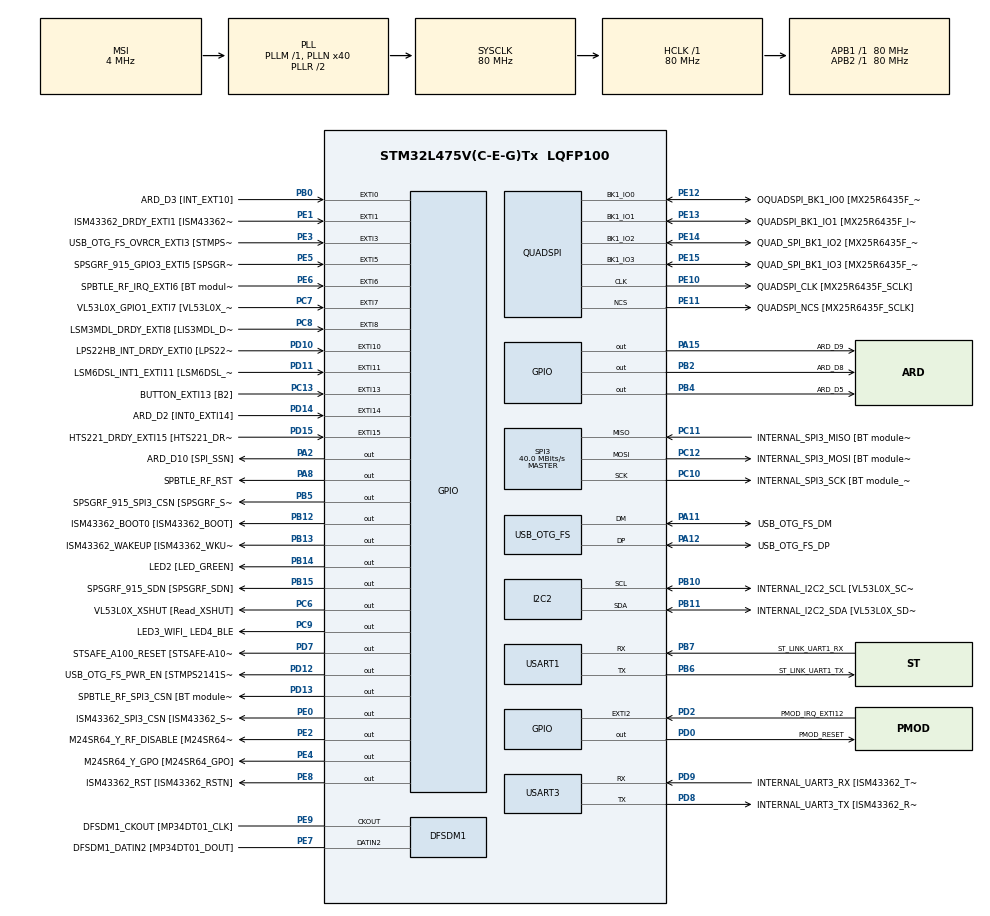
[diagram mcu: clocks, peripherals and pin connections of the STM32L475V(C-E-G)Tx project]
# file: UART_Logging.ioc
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I2C2.Timing=0x10909CEC
Mcu.Family=STM32L4
Mcu.Name=STM32L475V(C-E-G)Tx
Mcu.Package=LQFP100
NVIC.EXTI15_10_IRQn=true\:0\:0\:false\:false\:true\:true\:true\:true
NVIC.EXTI9_5_IRQn=true\:0\:0\:false\:false\:true\:true\:true\:true
NVIC.PriorityGroup=NVIC_PRIORITYGROUP_4
PA0.GPIO_Label=ARD_D1 [UART4_TX]
PA0.Signal=UART4_TX
PA1.GPIO_Label=ARD_D0 [UART4_RX]
PA1.Signal=UART4_RX
PA10.GPIO_Label=USB_OTG_FS_ID
PA10.Signal=USB_OTG_FS_ID
PA11.GPIO_Label=USB_OTG_FS_DM
PA11.Mode=Device_Only
PA11.Signal=USB_OTG_FS_DM
PA12.GPIO_Label=USB_OTG_FS_DP
PA12.Mode=Device_Only
PA12.Signal=USB_OTG_FS_DP
PA13\ (JTMS-SWDIO).GPIO_Label=SYS_JTMS_SWDIO
PA13\ (JTMS-SWDIO).Mode=Serial_Wire
PA13\ (JTMS-SWDIO).Signal=SYS_JTMS-SWDIO
PA14\ (JTCK-SWCLK).GPIO_Label=SYS_JTCK_SWCLK
PA14\ (JTCK-SWCLK).Mode=Serial_Wire
PA14\ (JTCK-SWCLK).Signal=SYS_JTCK-SWCLK
PA15\ (JTDI).GPIO_Label=ARD_D9
PA15\ (JTDI).Signal=GPIO_Output
PA2.GPIO_Label=ARD_D10 [SPI_SSN]
PA2.Signal=GPIO_Output
PA3.GPIO_Label=ARD_D4
PA3.Signal=S_TIM2_CH4
PA4.GPIO_Label=ARD_D7
PA4.Signal=ADCx_IN9
PA5.GPIO_Label=ARD_D13 [SPI1_SCK]
PA5.Signal=SPI1_SCK
PA6.GPIO_Label=ARD_D12 [SPI1_MISO]
PA6.Signal=SPI1_MISO
PA7.GPIO_Label=ARD_D11 [SPI1_MOSI]
PA7.Signal=SPI1_MOSI
PA8.GPIO_Label=SPBTLE_RF_RST
PA8.Signal=GPIO_Output
PA9.GPIO_Label=USB_OTG_FS_VBUS [STMPS2141STR_OUT]
PA9.Signal=USB_OTG_FS_VBUS
PB0.GPIO_Label=ARD_D3 [INT_EXT10]
PB0.Signal=GPXTI0
PB1.GPIO_Label=ARD_D6 [ADC1_IN6]
PB1.Signal=ADCx_IN16
PB10.GPIO_Label=INTERNAL_I2C2_SCL [VL53L0X_SCL]
PB10.GPIO_Pu=GPIO_PULLUP
PB10.Mode=I2C
PB10.Signal=I2C2_SCL
PB11.GPIO_Label=INTERNAL_I2C2_SDA [VL53L0X_SDA]
PB11.GPIO_Pu=GPIO_PULLUP
PB11.Mode=I2C
PB11.Signal=I2C2_SDA
PB12.GPIO_Label=ISM43362_BOOT0 [ISM43362_BOOT]
PB12.Signal=GPIO_Output
PB13.GPIO_Label=ISM43362_WAKEUP [ISM43362_WKUP]
PB13.Signal=GPIO_Output
PB14.GPIO_Label=LED2 [LED_GREEN]
PB14.Signal=GPIO_Output
PB15.GPIO_Label=SPSGRF_915_SDN [SPSGRF_SDN]
PB15.Signal=GPIO_Output
PB2.GPIO_Label=ARD_D8
PB2.Signal=GPIO_Output
PB3\ (JTDO-TRACESWO).GPIO_Label=SYS_JTD0_SWO
PB3\ (JTDO-TRACESWO).Signal=SYS_JTDO-SWO
PB4\ (NJTRST).GPIO_Label=ARD_D5
PB4\ (NJTRST).Signal=GPIO_Output
PB5.GPIO_Label=SPSGRF_915_SPI3_CSN [SPSGRF_SPI_CS]
PB5.PinState=GPIO_PIN_SET
PB5.Signal=GPIO_Output
PB6.GPIO_Label=ST_LINK_UART1_TX
PB6.Mode=Asynchronous
PB6.Signal=USART1_TX
PB7.GPIO_Label=ST_LINK_UART1_RX
PB7.Mode=Asynchronous
PB7.Signal=USART1_RX
PB8.GPIO_Label=ARD_D15 [I2C1_SCL]
PB8.Signal=I2C1_SCL
PB9.GPIO_Label=ARD_D14 [I2C1_SDA]
PB9.Signal=I2C1_SDA
PC0.GPIO_Label=ARD_A5 [ADC]
PC0.Signal=ADCx_IN1
PC1.GPIO_Label=ARD_A4 [ADC]
PC1.Signal=ADCx_IN2
PC10.GPIO_Label=INTERNAL_SPI3_SCK [BT module_SPI_SCLK] [ISM43362_SCK]
PC10.Mode=Full_Duplex_Master
PC10.Signal=SPI3_SCK
PC11.GPIO_Label=INTERNAL_SPI3_MISO [BT module_SPI_MISO] [ISM43362_MISO]
PC11.Mode=Full_Duplex_Master
PC11.Signal=SPI3_MISO
PC12.GPIO_Label=INTERNAL_SPI3_MOSI [BT module_SPI_MOSI] [ISM43362_MOSI]
PC12.Mode=Full_Duplex_Master
PC12.Signal=SPI3_MOSI
PC13.GPIO_Label=BUTTON_EXTI13 [B2]
PC13.GPIO_ModeDefaultEXTI=GPIO_MODE_IT_FALLING
PC13.Signal=GPXTI13
PC14-OSC32_IN\ (PC14).Mode=LSE-External-Oscillator
PC14-OSC32_IN\ (PC14).Signal=RCC_OSC32_IN
PC15-OSC32_OUT\ (PC15).Mode=LSE-External-Oscillator
PC15-OSC32_OUT\ (PC15).Signal=RCC_OSC32_OUT
PC2.GPIO_Label=ARD_A3 [ADC]
PC2.Signal=ADCx_IN3
PC3.GPIO_Label=ARD_A2 [ADC]
PC3.Signal=ADCx_IN4
PC4.GPIO_Label=ARD_A1 [ADC]
PC4.Signal=ADCx_IN13
PC5.GPIO_Label=ARD_A0 [ADC]
PC5.Signal=ADCx_IN14
PC6.GPIO_Label=VL53L0X_XSHUT [Read_XSHUT]
PC6.Signal=GPIO_Output
PC7.GPIO_Label=VL53L0X_GPIO1_EXTI7 [VL53L0X_GPIO1]
PC7.Signal=GPXTI7
PC8.GPIO_Label=LSM3MDL_DRDY_EXTI8 [LIS3MDL_DRDY]
PC8.Signal=GPXTI8
PC9.GPIO_Label=LED3_WIFI_ LED4_BLE
PC9.Signal=GPIO_Output
PD0.GPIO_Label=PMOD_RESET
PD0.Signal=GPIO_Output
PD1.GPIO_Label=PMOD_SPI2_SCK
PD1.Signal=SPI2_SCK
PD10.GPIO_Label=LPS22HB_INT_DRDY_EXTI0 [LPS22HB_INT_DRDY] 
PD10.Signal=GPXTI10
PD11.GPIO_Label=LSM6DSL_INT1_EXTI11 [LSM6DSL_INT1]
PD11.Signal=GPXTI11
PD12.GPIO_Label=USB_OTG_FS_PWR_EN [STMPS2141STR_EN]
PD12.Signal=GPIO_Output
PD13.GPIO_Label=SPBTLE_RF_SPI3_CSN [BT module_SPI_CS]
PD13.PinState=GPIO_PIN_SET
PD13.Signal=GPIO_Output
PD14.GPIO_Label=ARD_D2 [INT0_EXTI14]
PD14.Signal=GPXTI14
PD15.GPIO_Label=HTS221_DRDY_EXTI15 [HTS221_DRDY]
PD15.Signal=GPXTI15
PD2.GPIO_Label=PMOD_IRQ_EXTI12
PD2.Signal=GPXTI2
PD3.GPIO_Label=PMOD_UART2_CTS
PD3.Signal=USART2_CTS
PD4.GPIO_Label=PMOD_UART2_RTS
PD4.Signal=USART2_RTS
PD5.GPIO_Label=PMOD_UART2_TX
PD5.Signal=USART2_TX
PD6.GPIO_Label=PMOD_UART2_RX
PD6.Signal=USART2_RX
PD7.GPIO_Label=STSAFE_A100_RESET [STSAFE-A100_RESET]
PD7.Signal=GPIO_Output
PD8.GPIO_Label=INTERNAL_UART3_TX [ISM43362_RX]
PD8.Mode=Asynchronous
PD8.Signal=USART3_TX
PD9.GPIO_Label=INTERNAL_UART3_RX [ISM43362_TX]
PD9.Mode=Asynchronous
PD9.Signal=USART3_RX
PE0.GPIO_Label=ISM43362_SPI3_CSN [ISM43362_SSN]
PE0.PinState=GPIO_PIN_SET
PE0.Signal=GPIO_Output
PE1.GPIO_Label=ISM43362_DRDY_EXTI1 [ISM43362_DATARDY]
PE1.Signal=GPXTI1
PE10.GPIO_Label=QUADSPI_CLK [MX25R6435F_SCLK]
PE10.Mode=Single Bank
PE10.Signal=QUADSPI_CLK
PE11.GPIO_Label=QUADSPI_NCS [MX25R6435F_SCLK]
PE11.Mode=Single Bank
PE11.Signal=QUADSPI_NCS
PE12.GPIO_Label=OQUADSPI_BK1_IO0 [MX25R6435F_IO0]
PE12.Mode=Single Bank
PE12.Signal=QUADSPI_BK1_IO0
PE13.GPIO_Label=QUADSPI_BK1_IO1 [MX25R6435F_IO1]
PE13.Mode=Single Bank
PE13.Signal=QUADSPI_BK1_IO1
PE14.GPIO_Label=QUAD_SPI_BK1_IO2 [MX25R6435F_IO2]
PE14.Mode=Single Bank
PE14.Signal=QUADSPI_BK1_IO2
PE15.GPIO_Label=QUAD_SPI_BK1_IO3 [MX25R6435F_IO3]
PE15.Mode=Single Bank
PE15.Signal=QUADSPI_BK1_IO3
PE2.GPIO_Label=M24SR64_Y_RF_DISABLE [M24SR64_RFDIS]
PE2.Signal=GPIO_Output
PE3.GPIO_Label=USB_OTG_FS_OVRCR_EXTI3 [STMPS2141STR_FAULT]
PE3.Signal=GPXTI3
PE4.GPIO_Label=M24SR64_Y_GPO [M24SR64_GPO]
PE4.Signal=GPIO_Output
PE5.GPIO_Label=SPSGRF_915_GPIO3_EXTI5 [SPSGRF_GPIO_3]
PE5.Signal=GPXTI5
PE6.GPIO_Label=SPBTLE_RF_IRQ_EXTI6 [BT module_SPI_IRQ]
PE6.Signal=GPXTI6
PE7.GPIO_Label=DFSDM1_DATIN2 [MP34DT01_DOUT]
PE7.Signal=S_DATAIN2DFSDM1
PE8.GPIO_Label=ISM43362_RST [ISM43362_RSTN]
PE8.Signal=GPIO_Output
PE9.GPIO_Label=DFSDM1_CKOUT [MP34DT01_CLK]
PE9.Signal=S_CKOUTDFSDM1
ProjectManager.HeapSize=0x200
ProjectManager.StackSize=0x400
ProjectManager.TargetToolchain=STM32CubeIDE
QUADSPI.ClockPrescaler=2
QUADSPI.FifoThreshold=4
QUADSPI.FlashSize=23
QUADSPI.SampleShifting=QSPI_SAMPLE_SHIFTING_HALFCYCLE
RCC.ADCFreq_Value=48000000
RCC.AHBFreq_Value=80000000
RCC.APB1Freq_Value=80000000
RCC.APB1TimFreq_Value=80000000
RCC.APB2Freq_Value=80000000
RCC.APB2TimFreq_Value=80000000
RCC.CortexFreq_Value=80000000
RCC.HCLKFreq_Value=80000000
RCC.HSE_VALUE=8000000
RCC.HSI_VALUE=16000000
RCC.MSI_VALUE=4000000
RCC.PLLN=40
RCC.PLLSAI1N=24
RCC.SYSCLKFreq_VALUE=80000000
RCC.SYSCLKSource=RCC_SYSCLKSOURCE_PLLCLK
RCC.USBFreq_Value=48000000
RCC.VCOOutputFreq_Value=160000000
SH.ADCx_IN1.0=ADC1_IN1
SH.ADCx_IN13.0=ADC1_IN13
SH.ADCx_IN14.0=ADC1_IN14
SH.ADCx_IN16.0=ADC1_IN16
SH.ADCx_IN2.0=ADC1_IN2
SH.ADCx_IN3.0=ADC1_IN3
SH.ADCx_IN4.0=ADC1_IN4
SH.ADCx_IN9.0=ADC1_IN9
SH.S_CKOUTDFSDM1.0=DFSDM1_CKOUT,CKOUT
SH.S_CKOUTDFSDM1.1=DFSDM1_CKOUT,PDM_SPI_Input_from_ch12_and_Internal_Clock
SH.S_DATAIN2DFSDM1.0=DFSDM1_DATIN2,PDM_SPI_Input_from_ch12_and_Internal_Clock
SH.S_TIM2_CH4.0=TIM2_CH4
SPI3.CalculateBaudRate=40.0 MBits/s
SPI3.Direction=SPI_DIRECTION_2LINES
SPI3.Mode=SPI_MODE_MASTER
SPI3.VirtualType=VM_MASTER
USART1.VirtualMode-Asynchronous=VM_ASYNC
USART3.VirtualMode-Asynchronous=VM_ASYNC
USB_OTG_FS.VirtualMode=Device_Only
board=B-L475E-IOT01A1

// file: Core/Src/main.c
/* USER CODE BEGIN Header */
/**
  ******************************************************************************
  * @file           : main.c
  * @brief          : Main program body
  ******************************************************************************
  * @attention
  *
  * Copyright (c) 2024 STMicroelectronics.
  * All rights reserved.
  *
  * This software is licensed under terms that can be found in the LICENSE file
  * in the root directory of this software component.
  * If no LICENSE file comes with this software, it is provided AS-IS.
  *
  ******************************************************************************
  */
/* USER CODE END Header */
#include "main.h"

DFSDM_Channel_HandleTypeDef hdfsdm1_channel1;

I2C_HandleTypeDef hi2c2;

QSPI_HandleTypeDef hqspi;

SPI_HandleTypeDef hspi3;

UART_HandleTypeDef huart1;
UART_HandleTypeDef huart3;

PCD_HandleTypeDef hpcd_USB_OTG_FS;

/* USER CODE BEGIN PV */
uint32_t timeout = 100;

/* USER CODE END PV */

void SystemClock_Config(void);
static void MX_GPIO_Init(void);
static void MX_DFSDM1_Init(void);
static void MX_I2C2_Init(void);
static void MX_QUADSPI_Init(void);
static void MX_SPI3_Init(void);
static void MX_USART1_UART_Init(void);
static void MX_USART3_UART_Init(void);
static void MX_USB_OTG_FS_PCD_Init(void);

/* USER CODE BEGIN 0 */
int __io_putchar(int ch) {
	HAL_UART_Transmit(&huart1, (uint8_t *)&ch, 1, 1000);
	return 1;
}

// logMsg method
void logMsg(UART_HandleTypeDef *huart, char _out[]) {
	int len = strlen(_out); //excluding the null terminator, so without +1
	// Transmit data with the passed in timeout
	HAL_UART_Transmit(huart, (uint8_t *) _out, len, timeout);
}

// logGetMsg method to receive character from terminal with default UART timeout 100 ms
uint8_t logGetMsg(UART_HandleTypeDef *huart) {
	char rxData = 0; // Initialize char to zero
	HAL_StatusTypeDef status = HAL_UART_Receive(huart, (uint8_t *) &rxData, 1, timeout);

	if (status == HAL_OK) {
		return (uint8_t)rxData;
	} else {
		return 0;
	}
}

// Function to turn off all LEDs before start
void turnOffAllLEDs(void) {

    HAL_GPIO_WritePin(LED2_GPIO_Port, LED2_Pin, GPIO_PIN_RESET); // Turn off LED connected to GPIOA_PIN_5
    HAL_GPIO_WritePin(LED3_WIFI__LED4_BLE_GPIO_Port, LED3_WIFI__LED4_BLE_Pin, GPIO_PIN_RESET); // Turn off LED connected to GPIOB_PIN_0
}
/* USER CODE END 0 */

int main(void)
{

  /* MCU Configuration--------------------------------------------------------*/

  /* Reset of all peripherals, Initializes the Flash interface and the Systick. */
  HAL_Init();

  /* Configure the system clock */
  SystemClock_Config();

  /* Initialize all configured peripherals */
  MX_GPIO_Init();
  MX_DFSDM1_Init();
  MX_I2C2_Init();
  MX_QUADSPI_Init();
  MX_SPI3_Init();
  MX_USART1_UART_Init();
  MX_USART3_UART_Init();
  MX_USB_OTG_FS_PCD_Init();
  /* USER CODE BEGIN 2 */
  turnOffAllLEDs();

  // Log intro messages
  logMsg(&huart1, "welcome to Embedded controller programming \r\n");
  logMsg(&huart1, "Enter g for toggling Green LED \r\n");
  logMsg(&huart1, "Enter b for toggling Blue LED \r\n");
  logMsg(&huart1, "Enter t to change timeout value to 1 ms \r\n");

  /* USER CODE END 2 */

  /* Infinite loop */
  /* USER CODE BEGIN WHILE */
  while (1)
  {
	  // Wait to receive a command from the terminal
	  char received_command = (char)logGetMsg(&huart1);

      // Check if a valid command was received
      if (received_command != 0) {
          // Print the received command
//          printf("Received command: %c\r\n", received_command);

          // Implement the action for received command
          if (received_command == 'g') {
              logMsg(&huart1, "Toggling Green LED...\r\n");
              HAL_GPIO_TogglePin(LED2_GPIO_Port, LED2_Pin); // Toggle Green LED
              HAL_Delay(10); // Delay to keep the LED state for 1 second
          } else if (received_command == 'b') {
              logMsg(&huart1, "Toggling Blue LED...\r\n");
              HAL_GPIO_TogglePin(LED3_WIFI__LED4_BLE_GPIO_Port, LED3_WIFI__LED4_BLE_Pin); // Toggle Blue LED
              HAL_Delay(10); // Delay to keep the LED state for 1 second
          } else if (received_command == 't') {
              logMsg(&huart1, "Thanks for input. Changing timeout value to 1 ms...\r\n");
              timeout = 1; // Change the UART timeout to 1 ms
          } else {
              logMsg(&huart1, "Unknown character received. Try again!\r\n");
          }
      } else {
//    	  logMsg(&huart1, "No command received or error occurred.\r\n");
    	  continue;
      }
    /* USER CODE END WHILE */

  }
}

void SystemClock_Config(void)
{
  RCC_OscInitTypeDef RCC_OscInitStruct = {0};
  RCC_ClkInitTypeDef RCC_ClkInitStruct = {0};

  /** Configure the main internal regulator output voltage
  */
  if (HAL_PWREx_ControlVoltageScaling(PWR_REGULATOR_VOLTAGE_SCALE1) != HAL_OK)
  {
    Error_Handler();
  }

  /** Configure LSE Drive Capability
  */
  HAL_PWR_EnableBkUpAccess();
  __HAL_RCC_LSEDRIVE_CONFIG(RCC_LSEDRIVE_LOW);

  /** Initializes the RCC Oscillators according to the specified parameters
  * in the RCC_OscInitTypeDef structure.
  */
  RCC_OscInitStruct.OscillatorType = RCC_OSCILLATORTYPE_LSE|RCC_OSCILLATORTYPE_MSI;
  RCC_OscInitStruct.LSEState = RCC_LSE_ON;
  RCC_OscInitStruct.MSIState = RCC_MSI_ON;
  RCC_OscInitStruct.MSICalibrationValue = 0;
  RCC_OscInitStruct.MSIClockRange = RCC_MSIRANGE_6;
  RCC_OscInitStruct.PLL.PLLState = RCC_PLL_ON;
  RCC_OscInitStruct.PLL.PLLSource = RCC_PLLSOURCE_MSI;
  RCC_OscInitStruct.PLL.PLLM = 1;
  RCC_OscInitStruct.PLL.PLLN = 40;
  RCC_OscInitStruct.PLL.PLLP = RCC_PLLP_DIV7;
  RCC_OscInitStruct.PLL.PLLQ = RCC_PLLQ_DIV2;
  RCC_OscInitStruct.PLL.PLLR = RCC_PLLR_DIV2;
  if (HAL_RCC_OscConfig(&RCC_OscInitStruct) != HAL_OK)
  {
    Error_Handler();
  }

  /** Initializes the CPU, AHB and APB buses clocks
  */
  RCC_ClkInitStruct.ClockType = RCC_CLOCKTYPE_HCLK|RCC_CLOCKTYPE_SYSCLK
                              |RCC_CLOCKTYPE_PCLK1|RCC_CLOCKTYPE_PCLK2;
  RCC_ClkInitStruct.SYSCLKSource = RCC_SYSCLKSOURCE_PLLCLK;
  RCC_ClkInitStruct.AHBCLKDivider = RCC_SYSCLK_DIV1;
  RCC_ClkInitStruct.APB1CLKDivider = RCC_HCLK_DIV1;
  RCC_ClkInitStruct.APB2CLKDivider = RCC_HCLK_DIV1;

  if (HAL_RCC_ClockConfig(&RCC_ClkInitStruct, FLASH_LATENCY_4) != HAL_OK)
  {
    Error_Handler();
  }

  /** Enable MSI Auto calibration
  */
  HAL_RCCEx_EnableMSIPLLMode();
}

static void MX_DFSDM1_Init(void)
{

  hdfsdm1_channel1.Instance = DFSDM1_Channel1;
  hdfsdm1_channel1.Init.OutputClock.Activation = ENABLE;
  hdfsdm1_channel1.Init.OutputClock.Selection = DFSDM_CHANNEL_OUTPUT_CLOCK_SYSTEM;
  hdfsdm1_channel1.Init.OutputClock.Divider = 2;
  hdfsdm1_channel1.Init.Input.Multiplexer = DFSDM_CHANNEL_EXTERNAL_INPUTS;
  hdfsdm1_channel1.Init.Input.DataPacking = DFSDM_CHANNEL_STANDARD_MODE;
  hdfsdm1_channel1.Init.Input.Pins = DFSDM_CHANNEL_FOLLOWING_CHANNEL_PINS;
  hdfsdm1_channel1.Init.SerialInterface.Type = DFSDM_CHANNEL_SPI_RISING;
  hdfsdm1_channel1.Init.SerialInterface.SpiClock = DFSDM_CHANNEL_SPI_CLOCK_INTERNAL;
  hdfsdm1_channel1.Init.Awd.FilterOrder = DFSDM_CHANNEL_FASTSINC_ORDER;
  hdfsdm1_channel1.Init.Awd.Oversampling = 1;
  hdfsdm1_channel1.Init.Offset = 0;
  hdfsdm1_channel1.Init.RightBitShift = 0x00;
  if (HAL_DFSDM_ChannelInit(&hdfsdm1_channel1) != HAL_OK)
  {
    Error_Handler();
  }

}

static void MX_I2C2_Init(void)
{

  hi2c2.Instance = I2C2;
  hi2c2.Init.Timing = 0x10909CEC;
  hi2c2.Init.OwnAddress1 = 0;
  hi2c2.Init.AddressingMode = I2C_ADDRESSINGMODE_7BIT;
  hi2c2.Init.DualAddressMode = I2C_DUALADDRESS_DISABLE;
  hi2c2.Init.OwnAddress2 = 0;
  hi2c2.Init.OwnAddress2Masks = I2C_OA2_NOMASK;
  hi2c2.Init.GeneralCallMode = I2C_GENERALCALL_DISABLE;
  hi2c2.Init.NoStretchMode = I2C_NOSTRETCH_DISABLE;
  if (HAL_I2C_Init(&hi2c2) != HAL_OK)
  {
    Error_Handler();
  }

  /** Configure Analogue filter
  */
  if (HAL_I2CEx_ConfigAnalogFilter(&hi2c2, I2C_ANALOGFILTER_ENABLE) != HAL_OK)
  {
    Error_Handler();
  }

  /** Configure Digital filter
  */
  if (HAL_I2CEx_ConfigDigitalFilter(&hi2c2, 0) != HAL_OK)
  {
    Error_Handler();
  }

}

static void MX_QUADSPI_Init(void)
{

  /* QUADSPI parameter configuration*/
  hqspi.Instance = QUADSPI;
  hqspi.Init.ClockPrescaler = 2;
  hqspi.Init.FifoThreshold = 4;
  hqspi.Init.SampleShifting = QSPI_SAMPLE_SHIFTING_HALFCYCLE;
  hqspi.Init.FlashSize = 23;
  hqspi.Init.ChipSelectHighTime = QSPI_CS_HIGH_TIME_1_CYCLE;
  hqspi.Init.ClockMode = QSPI_CLOCK_MODE_0;
  if (HAL_QSPI_Init(&hqspi) != HAL_OK)
  {
    Error_Handler();
  }

}

static void MX_SPI3_Init(void)
{

  /* SPI3 parameter configuration*/
  hspi3.Instance = SPI3;
  hspi3.Init.Mode = SPI_MODE_MASTER;
  hspi3.Init.Direction = SPI_DIRECTION_2LINES;
  hspi3.Init.DataSize = SPI_DATASIZE_4BIT;
  hspi3.Init.CLKPolarity = SPI_POLARITY_LOW;
  hspi3.Init.CLKPhase = SPI_PHASE_1EDGE;
  hspi3.Init.NSS = SPI_NSS_SOFT;
  hspi3.Init.BaudRatePrescaler = SPI_BAUDRATEPRESCALER_2;
  hspi3.Init.FirstBit = SPI_FIRSTBIT_MSB;
  hspi3.Init.TIMode = SPI_TIMODE_DISABLE;
  hspi3.Init.CRCCalculation = SPI_CRCCALCULATION_DISABLE;
  hspi3.Init.CRCPolynomial = 7;
  hspi3.Init.CRCLength = SPI_CRC_LENGTH_DATASIZE;
  hspi3.Init.NSSPMode = SPI_NSS_PULSE_ENABLE;
  if (HAL_SPI_Init(&hspi3) != HAL_OK)
  {
    Error_Handler();
  }

}

static void MX_USART1_UART_Init(void)
{

  huart1.Instance = USART1;
  huart1.Init.BaudRate = 115200;
  huart1.Init.WordLength = UART_WORDLENGTH_8B;
  huart1.Init.StopBits = UART_STOPBITS_1;
  huart1.Init.Parity = UART_PARITY_NONE;
  huart1.Init.Mode = UART_MODE_TX_RX;
  huart1.Init.HwFlowCtl = UART_HWCONTROL_NONE;
  huart1.Init.OverSampling = UART_OVERSAMPLING_16;
  huart1.Init.OneBitSampling = UART_ONE_BIT_SAMPLE_DISABLE;
  huart1.AdvancedInit.AdvFeatureInit = UART_ADVFEATURE_NO_INIT;
  if (HAL_UART_Init(&huart1) != HAL_OK)
  {
    Error_Handler();
  }

}

static void MX_USART3_UART_Init(void)
{

  huart3.Instance = USART3;
  huart3.Init.BaudRate = 115200;
  huart3.Init.WordLength = UART_WORDLENGTH_8B;
  huart3.Init.StopBits = UART_STOPBITS_1;
  huart3.Init.Parity = UART_PARITY_NONE;
  huart3.Init.Mode = UART_MODE_TX_RX;
  huart3.Init.HwFlowCtl = UART_HWCONTROL_NONE;
  huart3.Init.OverSampling = UART_OVERSAMPLING_16;
  huart3.Init.OneBitSampling = UART_ONE_BIT_SAMPLE_DISABLE;
  huart3.AdvancedInit.AdvFeatureInit = UART_ADVFEATURE_NO_INIT;
  if (HAL_UART_Init(&huart3) != HAL_OK)
  {
    Error_Handler();
  }

}

static void MX_USB_OTG_FS_PCD_Init(void)
{

  hpcd_USB_OTG_FS.Instance = USB_OTG_FS;
  hpcd_USB_OTG_FS.Init.dev_endpoints = 6;
  hpcd_USB_OTG_FS.Init.speed = PCD_SPEED_FULL;
  hpcd_USB_OTG_FS.Init.phy_itface = PCD_PHY_EMBEDDED;
  hpcd_USB_OTG_FS.Init.Sof_enable = DISABLE;
  hpcd_USB_OTG_FS.Init.low_power_enable = DISABLE;
  hpcd_USB_OTG_FS.Init.lpm_enable = DISABLE;
  hpcd_USB_OTG_FS.Init.battery_charging_enable = DISABLE;
  hpcd_USB_OTG_FS.Init.use_dedicated_ep1 = DISABLE;
  hpcd_USB_OTG_FS.Init.vbus_sensing_enable = DISABLE;
  if (HAL_PCD_Init(&hpcd_USB_OTG_FS) != HAL_OK)
  {
    Error_Handler();
  }

}

static void MX_GPIO_Init(void)
{
  GPIO_InitTypeDef GPIO_InitStruct = {0};

  /* GPIO Ports Clock Enable */
  __HAL_RCC_GPIOE_CLK_ENABLE();
  __HAL_RCC_GPIOC_CLK_ENABLE();
  __HAL_RCC_GPIOA_CLK_ENABLE();
  __HAL_RCC_GPIOB_CLK_ENABLE();
  __HAL_RCC_GPIOD_CLK_ENABLE();

  /*Configure GPIO pin Output Level */
  HAL_GPIO_WritePin(GPIOE, M24SR64_Y_RF_DISABLE_Pin|M24SR64_Y_GPO_Pin|ISM43362_RST_Pin, GPIO_PIN_RESET);

  /*Configure GPIO pin Output Level */
  HAL_GPIO_WritePin(GPIOA, ARD_D10_Pin|SPBTLE_RF_RST_Pin|ARD_D9_Pin, GPIO_PIN_RESET);

  /*Configure GPIO pin Output Level */
  HAL_GPIO_WritePin(GPIOB, ARD_D8_Pin|ISM43362_BOOT0_Pin|ISM43362_WAKEUP_Pin|LED2_Pin
                          |SPSGRF_915_SDN_Pin|ARD_D5_Pin, GPIO_PIN_RESET);

  /*Configure GPIO pin Output Level */
  HAL_GPIO_WritePin(GPIOD, USB_OTG_FS_PWR_EN_Pin|PMOD_RESET_Pin|STSAFE_A100_RESET_Pin, GPIO_PIN_RESET);

  /*Configure GPIO pin Output Level */
  HAL_GPIO_WritePin(SPBTLE_RF_SPI3_CSN_GPIO_Port, SPBTLE_RF_SPI3_CSN_Pin, GPIO_PIN_SET);

  /*Configure GPIO pin Output Level */
  HAL_GPIO_WritePin(GPIOC, VL53L0X_XSHUT_Pin|LED3_WIFI__LED4_BLE_Pin, GPIO_PIN_RESET);

  /*Configure GPIO pin Output Level */
  HAL_GPIO_WritePin(SPSGRF_915_SPI3_CSN_GPIO_Port, SPSGRF_915_SPI3_CSN_Pin, GPIO_PIN_SET);

  /*Configure GPIO pin Output Level */
  HAL_GPIO_WritePin(ISM43362_SPI3_CSN_GPIO_Port, ISM43362_SPI3_CSN_Pin, GPIO_PIN_SET);

  /*Configure GPIO pins : M24SR64_Y_RF_DISABLE_Pin M24SR64_Y_GPO_Pin ISM43362_RST_Pin ISM43362_SPI3_CSN_Pin */
  GPIO_InitStruct.Pin = M24SR64_Y_RF_DISABLE_Pin|M24SR64_Y_GPO_Pin|ISM43362_RST_Pin|ISM43362_SPI3_CSN_Pin;
  GPIO_InitStruct.Mode = GPIO_MODE_OUTPUT_PP;
  GPIO_InitStruct.Pull = GPIO_NOPULL;
  GPIO_InitStruct.Speed = GPIO_SPEED_FREQ_LOW;
  HAL_GPIO_Init(GPIOE, &GPIO_InitStruct);

  /*Configure GPIO pins : USB_OTG_FS_OVRCR_EXTI3_Pin SPSGRF_915_GPIO3_EXTI5_Pin SPBTLE_RF_IRQ_EXTI6_Pin ISM43362_DRDY_EXTI1_Pin */
  GPIO_InitStruct.Pin = USB_OTG_FS_OVRCR_EXTI3_Pin|SPSGRF_915_GPIO3_EXTI5_Pin|SPBTLE_RF_IRQ_EXTI6_Pin|ISM43362_DRDY_EXTI1_Pin;
  GPIO_InitStruct.Mode = GPIO_MODE_IT_RISING;
  GPIO_InitStruct.Pull = GPIO_NOPULL;
  HAL_GPIO_Init(GPIOE, &GPIO_InitStruct);

  /*Configure GPIO pin : BUTTON_EXTI13_Pin */
  GPIO_InitStruct.Pin = BUTTON_EXTI13_Pin;
  GPIO_InitStruct.Mode = GPIO_MODE_IT_FALLING;
  GPIO_InitStruct.Pull = GPIO_NOPULL;
  HAL_GPIO_Init(BUTTON_EXTI13_GPIO_Port, &GPIO_InitStruct);

  /*Configure GPIO pins : ARD_A5_Pin ARD_A4_Pin ARD_A3_Pin ARD_A2_Pin
                           ARD_A1_Pin ARD_A0_Pin */
  GPIO_InitStruct.Pin = ARD_A5_Pin|ARD_A4_Pin|ARD_A3_Pin|ARD_A2_Pin
                          |ARD_A1_Pin|ARD_A0_Pin;
  GPIO_InitStruct.Mode = GPIO_MODE_ANALOG_ADC_CONTROL;
  GPIO_InitStruct.Pull = GPIO_NOPULL;
  HAL_GPIO_Init(GPIOC, &GPIO_InitStruct);

  /*Configure GPIO pins : ARD_D1_Pin ARD_D0_Pin */
  GPIO_InitStruct.Pin = ARD_D1_Pin|ARD_D0_Pin;
  GPIO_InitStruct.Mode = GPIO_MODE_AF_PP;
  GPIO_InitStruct.Pull = GPIO_NOPULL;
  GPIO_InitStruct.Speed = GPIO_SPEED_FREQ_VERY_HIGH;
  GPIO_InitStruct.Alternate = GPIO_AF8_UART4;
  HAL_GPIO_Init(GPIOA, &GPIO_InitStruct);

  /*Configure GPIO pins : ARD_D10_Pin SPBTLE_RF_RST_Pin ARD_D9_Pin */
  GPIO_InitStruct.Pin = ARD_D10_Pin|SPBTLE_RF_RST_Pin|ARD_D9_Pin;
  GPIO_InitStruct.Mode = GPIO_MODE_OUTPUT_PP;
  GPIO_InitStruct.Pull = GPIO_NOPULL;
  GPIO_InitStruct.Speed = GPIO_SPEED_FREQ_LOW;
  HAL_GPIO_Init(GPIOA, &GPIO_InitStruct);

  /*Configure GPIO pin : ARD_D4_Pin */
  GPIO_InitStruct.Pin = ARD_D4_Pin;
  GPIO_InitStruct.Mode = GPIO_MODE_AF_PP;
  GPIO_InitStruct.Pull = GPIO_NOPULL;
  GPIO_InitStruct.Speed = GPIO_SPEED_FREQ_LOW;
  GPIO_InitStruct.Alternate = GPIO_AF1_TIM2;
  HAL_GPIO_Init(ARD_D4_GPIO_Port, &GPIO_InitStruct);

  /*Configure GPIO pin : ARD_D7_Pin */
  GPIO_InitStruct.Pin = ARD_D7_Pin;
  GPIO_InitStruct.Mode = GPIO_MODE_ANALOG_ADC_CONTROL;
  GPIO_InitStruct.Pull = GPIO_NOPULL;
  HAL_GPIO_Init(ARD_D7_GPIO_Port, &GPIO_InitStruct);

  /*Configure GPIO pins : ARD_D13_Pin ARD_D12_Pin ARD_D11_Pin */
  GPIO_InitStruct.Pin = ARD_D13_Pin|ARD_D12_Pin|ARD_D11_Pin;
  GPIO_InitStruct.Mode = GPIO_MODE_AF_PP;
  GPIO_InitStruct.Pull = GPIO_NOPULL;
  GPIO_InitStruct.Speed = GPIO_SPEED_FREQ_VERY_HIGH;
  GPIO_InitStruct.Alternate = GPIO_AF5_SPI1;
  HAL_GPIO_Init(GPIOA, &GPIO_InitStruct);

  /*Configure GPIO pin : ARD_D3_Pin */
  GPIO_InitStruct.Pin = ARD_D3_Pin;
  GPIO_InitStruct.Mode = GPIO_MODE_IT_RISING;
  GPIO_InitStruct.Pull = GPIO_NOPULL;
  HAL_GPIO_Init(ARD_D3_GPIO_Port, &GPIO_InitStruct);

  /*Configure GPIO pin : ARD_D6_Pin */
  GPIO_InitStruct.Pin = ARD_D6_Pin;
  GPIO_InitStruct.Mode = GPIO_MODE_ANALOG_ADC_CONTROL;
  GPIO_InitStruct.Pull = GPIO_NOPULL;
  HAL_GPIO_Init(ARD_D6_GPIO_Port, &GPIO_InitStruct);

  /*Configure GPIO pins : ARD_D8_Pin ISM43362_BOOT0_Pin ISM43362_WAKEUP_Pin LED2_Pin
                           SPSGRF_915_SDN_Pin ARD_D5_Pin SPSGRF_915_SPI3_CSN_Pin */
  GPIO_InitStruct.Pin = ARD_D8_Pin|ISM43362_BOOT0_Pin|ISM43362_WAKEUP_Pin|LED2_Pin
                          |SPSGRF_915_SDN_Pin|ARD_D5_Pin|SPSGRF_915_SPI3_CSN_Pin;
  GPIO_InitStruct.Mode = GPIO_MODE_OUTPUT_PP;
  GPIO_InitStruct.Pull = GPIO_NOPULL;
  GPIO_InitStruct.Speed = GPIO_SPEED_FREQ_LOW;
  HAL_GPIO_Init(GPIOB, &GPIO_InitStruct);

  /*Configure GPIO pins : LPS22HB_INT_DRDY_EXTI0_Pin LSM6DSL_INT1_EXTI11_Pin ARD_D2_Pin HTS221_DRDY_EXTI15_Pin
                           PMOD_IRQ_EXTI12_Pin */
  GPIO_InitStruct.Pin = LPS22HB_INT_DRDY_EXTI0_Pin|LSM6DSL_INT1_EXTI11_Pin|ARD_D2_Pin|HTS221_DRDY_EXTI15_Pin
                          |PMOD_IRQ_EXTI12_Pin;
  GPIO_InitStruct.Mode = GPIO_MODE_IT_RISING;
  GPIO_InitStruct.Pull = GPIO_NOPULL;
  HAL_GPIO_Init(GPIOD, &GPIO_InitStruct);

  /*Configure GPIO pins : USB_OTG_FS_PWR_EN_Pin SPBTLE_RF_SPI3_CSN_Pin PMOD_RESET_Pin STSAFE_A100_RESET_Pin */
  GPIO_InitStruct.Pin = USB_OTG_FS_PWR_EN_Pin|SPBTLE_RF_SPI3_CSN_Pin|PMOD_RESET_Pin|STSAFE_A100_RESET_Pin;
  GPIO_InitStruct.Mode = GPIO_MODE_OUTPUT_PP;
  GPIO_InitStruct.Pull = GPIO_NOPULL;
  GPIO_InitStruct.Speed = GPIO_SPEED_FREQ_LOW;
  HAL_GPIO_Init(GPIOD, &GPIO_InitStruct);

  /*Configure GPIO pins : VL53L0X_XSHUT_Pin LED3_WIFI__LED4_BLE_Pin */
  GPIO_InitStruct.Pin = VL53L0X_XSHUT_Pin|LED3_WIFI__LED4_BLE_Pin;
  GPIO_InitStruct.Mode = GPIO_MODE_OUTPUT_PP;
  GPIO_InitStruct.Pull = GPIO_NOPULL;
  GPIO_InitStruct.Speed = GPIO_SPEED_FREQ_LOW;
  HAL_GPIO_Init(GPIOC, &GPIO_InitStruct);

  /*Configure GPIO pins : VL53L0X_GPIO1_EXTI7_Pin LSM3MDL_DRDY_EXTI8_Pin */
  GPIO_InitStruct.Pin = VL53L0X_GPIO1_EXTI7_Pin|LSM3MDL_DRDY_EXTI8_Pin;
  GPIO_InitStruct.Mode = GPIO_MODE_IT_RISING;
  GPIO_InitStruct.Pull = GPIO_NOPULL;
  HAL_GPIO_Init(GPIOC, &GPIO_InitStruct);

  /*Configure GPIO pin : PMOD_SPI2_SCK_Pin */
  GPIO_InitStruct.Pin = PMOD_SPI2_SCK_Pin;
  GPIO_InitStruct.Mode = GPIO_MODE_AF_PP;
  GPIO_InitStruct.Pull = GPIO_NOPULL;
  GPIO_InitStruct.Speed = GPIO_SPEED_FREQ_VERY_HIGH;
  GPIO_InitStruct.Alternate = GPIO_AF5_SPI2;
  HAL_GPIO_Init(PMOD_SPI2_SCK_GPIO_Port, &GPIO_InitStruct);

  /*Configure GPIO pins : PMOD_UART2_CTS_Pin PMOD_UART2_RTS_Pin PMOD_UART2_TX_Pin PMOD_UART2_RX_Pin */
  GPIO_InitStruct.Pin = PMOD_UART2_CTS_Pin|PMOD_UART2_RTS_Pin|PMOD_UART2_TX_Pin|PMOD_UART2_RX_Pin;
  GPIO_InitStruct.Mode = GPIO_MODE_AF_PP;
  GPIO_InitStruct.Pull = GPIO_NOPULL;
  GPIO_InitStruct.Speed = GPIO_SPEED_FREQ_VERY_HIGH;
  GPIO_InitStruct.Alternate = GPIO_AF7_USART2;
  HAL_GPIO_Init(GPIOD, &GPIO_InitStruct);

  /*Configure GPIO pins : ARD_D15_Pin ARD_D14_Pin */
  GPIO_InitStruct.Pin = ARD_D15_Pin|ARD_D14_Pin;
  GPIO_InitStruct.Mode = GPIO_MODE_AF_OD;
  GPIO_InitStruct.Pull = GPIO_NOPULL;
  GPIO_InitStruct.Speed = GPIO_SPEED_FREQ_VERY_HIGH;
  GPIO_InitStruct.Alternate = GPIO_AF4_I2C1;
  HAL_GPIO_Init(GPIOB, &GPIO_InitStruct);

  /* EXTI interrupt init*/
  HAL_NVIC_SetPriority(EXTI9_5_IRQn, 0, 0);
  HAL_NVIC_EnableIRQ(EXTI9_5_IRQn);

  HAL_NVIC_SetPriority(EXTI15_10_IRQn, 0, 0);
  HAL_NVIC_EnableIRQ(EXTI15_10_IRQn);

}

void Error_Handler(void)
{
  __disable_irq();
  while (1)
  {
  }
}
